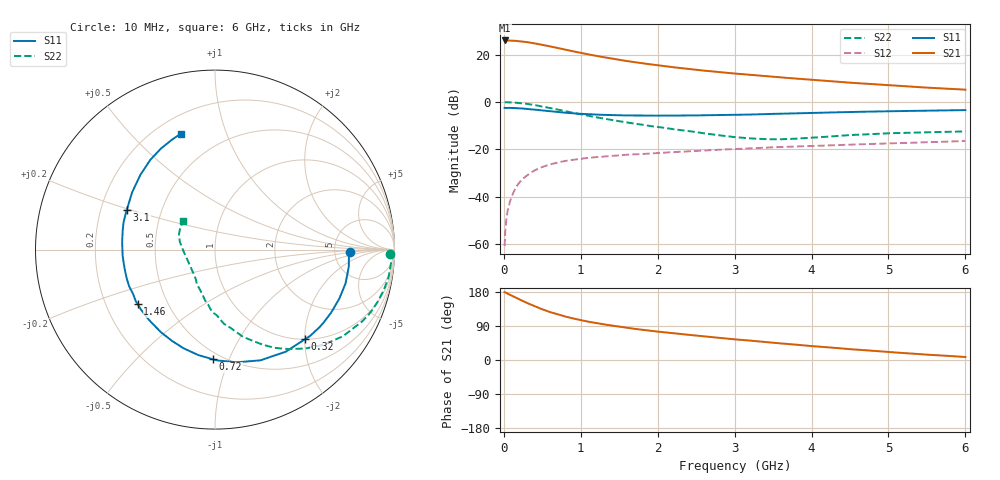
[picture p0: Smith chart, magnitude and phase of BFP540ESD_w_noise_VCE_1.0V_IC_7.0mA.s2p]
! (c) 2015  Infineon Technologies AG, Munich
! Infineon Technologies  Discrete & RF Semiconductors
! BFP540ESD
! VCE =  1.0 V,  IC =  7.0 mA
! Common Emitter S-Parameters:  Nov 2015
# GHz  S  MA  R  50
!  f  S11  S21  S12  S22
! GHz  MAG  ANG  MAG  ANG  MAG  ANG  MAG  ANG
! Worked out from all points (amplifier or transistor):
!   210 points, 10 MHz to 6 GHz, reference 50 ohm
!   highest |S21| = 26.0 dB at 10 MHz (marker M1)
!   |S21| within 3 dB of that: start of sweep to 673.9 MHz
!   unconditionally stable (mu >= 1): 3.009 GHz to end of sweep
!   at 185 MHz: K = 0.07, MSG = 30.2 dB, |S12| = -34.8 dB
!   at 1.52 GHz: K = 0.62, MSG = 20.1 dB, |S12| = -22.5 dB
!   at 6 GHz: K = 1.19, MAG = 8.2 dB, |S12| = -16.5 dB
!   lowest NFmin = 0.76 dB at 900 MHz
!   S11 on the Smith chart (normalised r, x): 10 MHz: 6.97, -0.50; 320 MHz: 1.00, -2.01; 720 MHz: 0.45, -0.88; 1.46 GHz: 0.34, -0.28; 3.1 GHz: 0.31, +0.20; 6 GHz: 0.30, +0.70
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0.01  0.7503 -1.2  19.94 178.9  0.0009 91.4  0.9739 -1.5
0.02  0.747 -3.2  19.71 178.4  0.002 77.9  0.9894 -1.7
0.05  0.7516 -7.2  19.86 175.0  0.0051 86.1  0.9842 -4.4
0.15  0.7445 -21.6  19.59 165.1  0.0149 82.0  0.9675 -13.4
0.22  0.7316 -31.3  19.06 158.1  0.0215 76.6  0.9444 -19.5
0.32  0.7079 -44.8  18.15 148.9  0.0295 69.6  0.9004 -27.6
0.4  0.692 -55.3  17.3 141.8  0.0359 65.7  0.8616 -34.0
0.5  0.6668 -67.7  16.21 133.7  0.0424 60.9  0.8047 -41.2
0.6  0.6395 -79.1  14.93 126.5  0.0479 56.7  0.7467 -47.5
0.72  0.6114 -91.0  13.62 119.4  0.0536 52.6  0.6814 -54.2
0.8  0.5948 -99.1  12.74 114.6  0.057 49.8  0.6396 -58.8
0.9  0.5771 -107.6  11.77 109.6  0.06 46.9  0.5922 -63.4
1.02  0.559 -116.8  10.74 104.4  0.0638 44.3  0.5409 -68.5
1.2  0.5411 -129.8  9.423 97.4  0.0685 41.1  0.4764 -75.4
1.46  0.5274 -144.8  7.972 89.0  0.0736 38.1  0.4022 -84.5
1.7  0.5203 -157.0  6.941 82.2  0.0779 36.1  0.3492 -92.1
2.02  0.5144 -170.2  5.899 74.5  0.0839 34.0  0.2944 -100.1
2.58  0.5227 170.6  4.638 62.7  0.0939 31.0  0.2206 -116.5
3.1  0.539 155.6  3.871 52.9  0.1032 28.3  0.1755 -134.8
4.1  0.5929 133.0  2.863 35.3  0.119 22.2  0.1803 179.1
5.1  0.6416 116.8  2.213 19.7  0.1346 16.1  0.22 154.8
6  0.6737 106.4  1.822 7.9  0.1498 11.3  0.239 137.7
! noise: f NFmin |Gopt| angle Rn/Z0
0.9  0.76  0.01  -71  0.11
1.8  0.97  0.09  177  0.11
2.4  0.98  0.11  174  0.1
3  1.11  0.19  -171  0.09
4  1.26  0.31  -120  0.15
5  1.48  0.43  -96  0.28
6  1.73  0.52  -98  0.43
